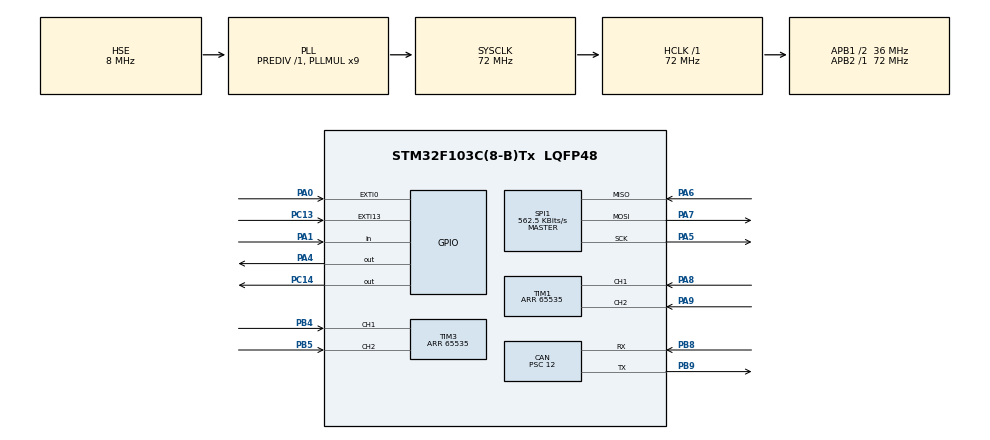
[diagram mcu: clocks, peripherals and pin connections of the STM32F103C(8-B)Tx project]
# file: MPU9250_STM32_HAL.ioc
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CAN.BS1=CAN_BS1_3TQ
CAN.BS2=CAN_BS2_2TQ
CAN.CalculateTimeBit=2000
CAN.CalculateTimeQuantum=333.33333333333337
CAN.Prescaler=12
CAN.SJW=CAN_SJW_2TQ
Mcu.Family=STM32F1
Mcu.Name=STM32F103C(8-B)Tx
Mcu.Package=LQFP48
NVIC.EXTI0_IRQn=true\:0\:0\:false\:true\:true\:2\:true
NVIC.EXTI15_10_IRQn=true\:0\:0\:false\:true\:true\:1\:true
NVIC.PriorityGroup=NVIC_PRIORITYGROUP_4
NVIC.TIM1_UP_IRQn=true\:0\:0\:false\:false\:true\:true
NVIC.TIM3_IRQn=true\:0\:0\:false\:false\:true\:true
PA0-WKUP.Signal=GPXTI0
PA1.Signal=GPIO_Input
PA13.Mode=Serial_Wire
PA13.Signal=SYS_JTMS-SWDIO
PA14.Mode=Serial_Wire
PA14.Signal=SYS_JTCK-SWCLK
PA4.Signal=GPIO_Output
PA5.Mode=Full_Duplex_Master
PA5.Signal=SPI1_SCK
PA6.Mode=Full_Duplex_Master
PA6.Signal=SPI1_MISO
PA7.Mode=Full_Duplex_Master
PA7.Signal=SPI1_MOSI
PA8.GPIO_PuPd=GPIO_PULLUP
PA8.Signal=S_TIM1_CH1
PA9.GPIO_PuPd=GPIO_PULLUP
PA9.Signal=S_TIM1_CH2
PB4.GPIO_PuPd=GPIO_PULLUP
PB4.Signal=S_TIM3_CH1
PB5.GPIO_PuPd=GPIO_PULLUP
PB5.Signal=S_TIM3_CH2
PB8.Mode=Master
PB8.Signal=CAN_RX
PB9.Mode=Master
PB9.Signal=CAN_TX
PC13-TAMPER-RTC.GPIO_PuPd=GPIO_PULLDOWN
PC13-TAMPER-RTC.Signal=GPXTI13
PC14-OSC32_IN.Signal=GPIO_Output
PD0-OSC_IN.Mode=HSE-External-Oscillator
PD0-OSC_IN.Signal=RCC_OSC_IN
PD1-OSC_OUT.Mode=HSE-External-Oscillator
PD1-OSC_OUT.Signal=RCC_OSC_OUT
ProjectManager.HeapSize=0x200
ProjectManager.StackSize=0x400
ProjectManager.TargetToolchain=MDK-ARM V5
RCC.AHBFreq_Value=72000000
RCC.APB1CLKDivider=RCC_HCLK_DIV2
RCC.APB1Freq_Value=36000000
RCC.APB1TimFreq_Value=72000000
RCC.APB2Freq_Value=72000000
RCC.APB2TimFreq_Value=72000000
RCC.HCLKFreq_Value=72000000
RCC.PLLMUL=RCC_PLL_MUL9
RCC.PLLSourceVirtual=RCC_PLLSOURCE_HSE
RCC.SYSCLKFreq_VALUE=72000000
RCC.SYSCLKSource=RCC_SYSCLKSOURCE_PLLCLK
RCC.USBFreq_Value=48000000
RCC.USBPrescaler=RCC_USBCLKSOURCE_PLL_DIV1_5
SH.S_TIM1_CH1.0=TIM1_CH1,Encoder_Interface
SH.S_TIM1_CH2.0=TIM1_CH2,Encoder_Interface
SH.S_TIM3_CH1.0=TIM3_CH1,Encoder_Interface
SH.S_TIM3_CH2.0=TIM3_CH2,Encoder_Interface
SPI1.BaudRatePrescaler=SPI_BAUDRATEPRESCALER_128
SPI1.CalculateBaudRate=562.5 KBits/s
SPI1.Direction=SPI_DIRECTION_2LINES
SPI1.Mode=SPI_MODE_MASTER
SPI1.VirtualType=VM_MASTER
TIM1.EncoderMode=TIM_ENCODERMODE_TI12
TIM1.Period=65535
TIM3.EncoderMode=TIM_ENCODERMODE_TI12
TIM3.Period=65535
board=MPU9250_STM32_HAL

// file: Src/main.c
/**
  ******************************************************************************
  * @file           : main.c
  * @brief          : Main program body
  ******************************************************************************
  ** This notice applies to any and all portions of this file
  * that are not between comment pairs USER CODE BEGIN and
  * USER CODE END. Other portions of this file, whether
  * inserted by the user or by software development tools
  * are owned by their respective copyright owners.
  *
  * COPYRIGHT(c) 2018 STMicroelectronics
  *
  * Redistribution and use in source and binary forms, with or without modification,
  * are permitted provided that the following conditions are met:
  *   1. Redistributions of source code must retain the above copyright notice,
  *      this list of conditions and the following disclaimer.
  *   2. Redistributions in binary form must reproduce the above copyright notice,
  *      this list of conditions and the following disclaimer in the documentation
  *      and/or other materials provided with the distribution.
  *   3. Neither the name of STMicroelectronics nor the names of its contributors
  *      may be used to endorse or promote products derived from this software
  *      without specific prior written permission.
  *
  * THIS SOFTWARE IS PROVIDED BY THE COPYRIGHT HOLDERS AND CONTRIBUTORS "AS IS"
  * AND ANY EXPRESS OR IMPLIED WARRANTIES, INCLUDING, BUT NOT LIMITED TO, THE
  * IMPLIED WARRANTIES OF MERCHANTABILITY AND FITNESS FOR A PARTICULAR PURPOSE ARE
  * DISCLAIMED. IN NO EVENT SHALL THE COPYRIGHT HOLDER OR CONTRIBUTORS BE LIABLE
  * FOR ANY DIRECT, INDIRECT, INCIDENTAL, SPECIAL, EXEMPLARY, OR CONSEQUENTIAL
  * DAMAGES (INCLUDING, BUT NOT LIMITED TO, PROCUREMENT OF SUBSTITUTE GOODS OR
  * SERVICES; LOSS OF USE, DATA, OR PROFITS; OR BUSINESS INTERRUPTION) HOWEVER
  * CAUSED AND ON ANY THEORY OF LIABILITY, WHETHER IN CONTRACT, STRICT LIABILITY,
  * OR TORT (INCLUDING NEGLIGENCE OR OTHERWISE) ARISING IN ANY WAY OUT OF THE USE
  * OF THIS SOFTWARE, EVEN IF ADVISED OF THE POSSIBILITY OF SUCH DAMAGE.
  *
  ******************************************************************************
  */
#include "main.h"
#include "stm32f1xx_hal.h"

/* USER CODE BEGIN Includes */
#include "MPU9250_SPI.h"
#include "stdlib.h"
#include "string.h"

/* USER CODE END Includes */

CAN_HandleTypeDef hcan;

SPI_HandleTypeDef hspi1;

TIM_HandleTypeDef htim1;
TIM_HandleTypeDef htim3;

/* USER CODE BEGIN PV */
/* Private variables ---------------------------------------------------------*/
volatile uint16_t newDataFlag=0;
volatile uint16_t cdcPortOpenedFlag=0;
volatile uint16_t transmitFlag=0;
extern volatile int32_t enc1,enc2;
/* USER CODE END PV */

void SystemClock_Config(void);
static void MX_GPIO_Init(void);
static void MX_SPI1_Init(void);
static void MX_CAN_Init(void);
static void MX_TIM1_Init(void);
static void MX_TIM3_Init(void);
static void MX_NVIC_Init(void);

/* USER CODE BEGIN PFP */
/* Private function prototypes -----------------------------------------------*/

/* USER CODE END PFP */

int main(void)
{
  /* USER CODE BEGIN 1 */
	char outdata[100];
	uint16_t ENC1 = 0;
	uint16_t ENC2 = 0;
	int transmitGo=0;
	uint8_t canBuff[]="abcdefgh";
	struct mpuSensorData sensorData;
	struct DPL{
		int16_t h1;
		int16_t h2;
		struct mpuSensorData Data;
	};
	union{
		struct DPL Data;
		uint8_t buffer[24];
	  }Packet;
	union{
		struct{
			int16_t a;
			int16_t b;
			int16_t c;

		}Data;
		uint8_t buffer[6];
	}canMess;

	  CanTxMsgTypeDef TXmsg;
		CanRxMsgTypeDef RXmsg;
		hcan.pTxMsg=&TXmsg;
			TXmsg.IDE=CAN_ID_STD;
			TXmsg.RTR=CAN_RTR_DATA;
			TXmsg.StdId=2000;
			TXmsg.DLC=7;
  /* USER CODE END 1 */

  /* MCU Configuration----------------------------------------------------------*/

  /* Reset of all peripherals, Initializes the Flash interface and the Systick. */
  HAL_Init();

  /* Configure the system clock */
  SystemClock_Config();

  /* Initialize all configured peripherals */
  MX_GPIO_Init();
  MX_SPI1_Init();
  MX_CAN_Init();
  MX_TIM1_Init();
  MX_TIM3_Init();

  /* Initialize interrupts */
  MX_NVIC_Init();
  /* USER CODE BEGIN 2 */
	NSS_HIGH;
	uint8_t data=00;
	HAL_SPI_Transmit(&hspi1,&data,1,100); //init the spi interface pin states
	HAL_Delay(10);
	mpuBegin();
	HAL_TIM_Base_Start_IT(&htim1);
	HAL_TIM_Base_Start_IT(&htim3);
	//mpuMyCustomConfig();
  enableDataReadyInterrupt();
  /* USER CODE END 2 */

  /* Infinite loop */
  while (1)
  {

  /* USER CODE BEGIN 3 */
			if(newDataFlag){
				mpuReadSensor(&sensorData);
				if(transmitGo>1)								//100 Hz Data Transmit Rate
		  //if(transmitFlag==1)						//get in sync with the camera
				{
				/*
				transmitFlag=0;

				//for(int i=0;i<100000;i++);
				*/
				canMess.Data.a=sensorData.gx;
				canMess.Data.b=sensorData.gy;
				canMess.Data.c=sensorData.gz;
				memcpy(&TXmsg.Data[0],canMess.buffer,6);
				TXmsg.Data[6]=1;
				HAL_CAN_Transmit(&hcan,100);
				//for(int i=0;i<100000;i++);
				canMess.Data.a=sensorData.ax;
				canMess.Data.b=sensorData.ay;
				canMess.Data.c=sensorData.az;
				memcpy(&TXmsg.Data[0],canMess.buffer,6);
				TXmsg.Data[6]=2;
				HAL_CAN_Transmit(&hcan,100);
				//for(int i=0;i<100000;i++);
				ENC1 = enc1;
				ENC2 = enc2;
				canMess.Data.a=ENC1;
				canMess.Data.b=ENC2;
				memcpy(&TXmsg.Data[0],canMess.buffer,4);
				TXmsg.Data[6]=3;
				HAL_CAN_Transmit(&hcan,100);
				//for(int i=0;i<100000;i++);
				/*
				//for(int i=0;i<100000;i++);
				canMess.Data.a=sensorData.hx;
				canMess.Data.b=sensorData.hy;
				canMess.Data.c=sensorData.hz;
				memcpy(&TXmsg.Data[0],canMess.buffer,6);
				TXmsg.Data[6]=3;
				HAL_CAN_Transmit(&hcan,100);
				*/
				//for(int i=0;i<100000;i++);
				transmitGo=0;
			}else{
				transmitGo++;
			}
			newDataFlag=0;
			}

  }
  /* USER CODE END 3 */

}

void SystemClock_Config(void)
{

  RCC_OscInitTypeDef RCC_OscInitStruct;
  RCC_ClkInitTypeDef RCC_ClkInitStruct;

    /**Initializes the CPU, AHB and APB busses clocks
    */
  RCC_OscInitStruct.OscillatorType = RCC_OSCILLATORTYPE_HSE;
  RCC_OscInitStruct.HSEState = RCC_HSE_ON;
  RCC_OscInitStruct.HSEPredivValue = RCC_HSE_PREDIV_DIV1;
  RCC_OscInitStruct.HSIState = RCC_HSI_ON;
  RCC_OscInitStruct.PLL.PLLState = RCC_PLL_ON;
  RCC_OscInitStruct.PLL.PLLSource = RCC_PLLSOURCE_HSE;
  RCC_OscInitStruct.PLL.PLLMUL = RCC_PLL_MUL9;
  if (HAL_RCC_OscConfig(&RCC_OscInitStruct) != HAL_OK)
  {
    _Error_Handler(__FILE__, __LINE__);
  }

    /**Initializes the CPU, AHB and APB busses clocks
    */
  RCC_ClkInitStruct.ClockType = RCC_CLOCKTYPE_HCLK|RCC_CLOCKTYPE_SYSCLK
                              |RCC_CLOCKTYPE_PCLK1|RCC_CLOCKTYPE_PCLK2;
  RCC_ClkInitStruct.SYSCLKSource = RCC_SYSCLKSOURCE_PLLCLK;
  RCC_ClkInitStruct.AHBCLKDivider = RCC_SYSCLK_DIV1;
  RCC_ClkInitStruct.APB1CLKDivider = RCC_HCLK_DIV2;
  RCC_ClkInitStruct.APB2CLKDivider = RCC_HCLK_DIV1;

  if (HAL_RCC_ClockConfig(&RCC_ClkInitStruct, FLASH_LATENCY_2) != HAL_OK)
  {
    _Error_Handler(__FILE__, __LINE__);
  }

    /**Configure the Systick interrupt time
    */
  HAL_SYSTICK_Config(HAL_RCC_GetHCLKFreq()/1000);

    /**Configure the Systick
    */
  HAL_SYSTICK_CLKSourceConfig(SYSTICK_CLKSOURCE_HCLK);

  /* SysTick_IRQn interrupt configuration */
  HAL_NVIC_SetPriority(SysTick_IRQn, 0, 0);
}

/**
  * @brief NVIC Configuration.
  * @retval None
  */
static void MX_NVIC_Init(void)
{
  /* EXTI15_10_IRQn interrupt configuration */
  HAL_NVIC_SetPriority(EXTI15_10_IRQn, 0, 0);
  HAL_NVIC_EnableIRQ(EXTI15_10_IRQn);
  /* EXTI0_IRQn interrupt configuration */
  HAL_NVIC_SetPriority(EXTI0_IRQn, 0, 0);
  HAL_NVIC_EnableIRQ(EXTI0_IRQn);
}

/* CAN init function */
static void MX_CAN_Init(void)
{

  hcan.Instance = CAN1;
  hcan.Init.Prescaler = 12;
  hcan.Init.Mode = CAN_MODE_NORMAL;
  hcan.Init.SJW = CAN_SJW_2TQ;
  hcan.Init.BS1 = CAN_BS1_3TQ;
  hcan.Init.BS2 = CAN_BS2_2TQ;
  hcan.Init.TTCM = DISABLE;
  hcan.Init.ABOM = DISABLE;
  hcan.Init.AWUM = DISABLE;
  hcan.Init.NART = DISABLE;
  hcan.Init.RFLM = DISABLE;
  hcan.Init.TXFP = DISABLE;
  if (HAL_CAN_Init(&hcan) != HAL_OK)
  {
    _Error_Handler(__FILE__, __LINE__);
  }

}

/* SPI1 init function */
static void MX_SPI1_Init(void)
{

  /* SPI1 parameter configuration*/
  hspi1.Instance = SPI1;
  hspi1.Init.Mode = SPI_MODE_MASTER;
  hspi1.Init.Direction = SPI_DIRECTION_2LINES;
  hspi1.Init.DataSize = SPI_DATASIZE_8BIT;
  hspi1.Init.CLKPolarity = SPI_POLARITY_LOW;
  hspi1.Init.CLKPhase = SPI_PHASE_1EDGE;
  hspi1.Init.NSS = SPI_NSS_SOFT;
  hspi1.Init.BaudRatePrescaler = SPI_BAUDRATEPRESCALER_128;
  hspi1.Init.FirstBit = SPI_FIRSTBIT_MSB;
  hspi1.Init.TIMode = SPI_TIMODE_DISABLE;
  hspi1.Init.CRCCalculation = SPI_CRCCALCULATION_DISABLE;
  hspi1.Init.CRCPolynomial = 10;
  if (HAL_SPI_Init(&hspi1) != HAL_OK)
  {
    _Error_Handler(__FILE__, __LINE__);
  }

}

/* TIM1 init function */
static void MX_TIM1_Init(void)
{

  TIM_Encoder_InitTypeDef sConfig;
  TIM_MasterConfigTypeDef sMasterConfig;

  htim1.Instance = TIM1;
  htim1.Init.Prescaler = 0;
  htim1.Init.CounterMode = TIM_COUNTERMODE_UP;
  htim1.Init.Period = 65535;
  htim1.Init.ClockDivision = TIM_CLOCKDIVISION_DIV1;
  htim1.Init.RepetitionCounter = 0;
  htim1.Init.AutoReloadPreload = TIM_AUTORELOAD_PRELOAD_DISABLE;
  sConfig.EncoderMode = TIM_ENCODERMODE_TI12;
  sConfig.IC1Polarity = TIM_ICPOLARITY_RISING;
  sConfig.IC1Selection = TIM_ICSELECTION_DIRECTTI;
  sConfig.IC1Prescaler = TIM_ICPSC_DIV1;
  sConfig.IC1Filter = 0;
  sConfig.IC2Polarity = TIM_ICPOLARITY_RISING;
  sConfig.IC2Selection = TIM_ICSELECTION_DIRECTTI;
  sConfig.IC2Prescaler = TIM_ICPSC_DIV1;
  sConfig.IC2Filter = 0;
  if (HAL_TIM_Encoder_Init(&htim1, &sConfig) != HAL_OK)
  {
    _Error_Handler(__FILE__, __LINE__);
  }

  sMasterConfig.MasterOutputTrigger = TIM_TRGO_RESET;
  sMasterConfig.MasterSlaveMode = TIM_MASTERSLAVEMODE_DISABLE;
  if (HAL_TIMEx_MasterConfigSynchronization(&htim1, &sMasterConfig) != HAL_OK)
  {
    _Error_Handler(__FILE__, __LINE__);
  }

}

/* TIM3 init function */
static void MX_TIM3_Init(void)
{

  TIM_Encoder_InitTypeDef sConfig;
  TIM_MasterConfigTypeDef sMasterConfig;

  htim3.Instance = TIM3;
  htim3.Init.Prescaler = 0;
  htim3.Init.CounterMode = TIM_COUNTERMODE_UP;
  htim3.Init.Period = 65535;
  htim3.Init.ClockDivision = TIM_CLOCKDIVISION_DIV1;
  htim3.Init.AutoReloadPreload = TIM_AUTORELOAD_PRELOAD_DISABLE;
  sConfig.EncoderMode = TIM_ENCODERMODE_TI12;
  sConfig.IC1Polarity = TIM_ICPOLARITY_RISING;
  sConfig.IC1Selection = TIM_ICSELECTION_DIRECTTI;
  sConfig.IC1Prescaler = TIM_ICPSC_DIV1;
  sConfig.IC1Filter = 0;
  sConfig.IC2Polarity = TIM_ICPOLARITY_RISING;
  sConfig.IC2Selection = TIM_ICSELECTION_DIRECTTI;
  sConfig.IC2Prescaler = TIM_ICPSC_DIV1;
  sConfig.IC2Filter = 0;
  if (HAL_TIM_Encoder_Init(&htim3, &sConfig) != HAL_OK)
  {
    _Error_Handler(__FILE__, __LINE__);
  }

  sMasterConfig.MasterOutputTrigger = TIM_TRGO_RESET;
  sMasterConfig.MasterSlaveMode = TIM_MASTERSLAVEMODE_DISABLE;
  if (HAL_TIMEx_MasterConfigSynchronization(&htim3, &sMasterConfig) != HAL_OK)
  {
    _Error_Handler(__FILE__, __LINE__);
  }

}

/** Configure pins as
        * Analog
        * Input
        * Output
        * EVENT_OUT
        * EXTI
*/
static void MX_GPIO_Init(void)
{

  GPIO_InitTypeDef GPIO_InitStruct;

  /* GPIO Ports Clock Enable */
  __HAL_RCC_GPIOC_CLK_ENABLE();
  __HAL_RCC_GPIOD_CLK_ENABLE();
  __HAL_RCC_GPIOA_CLK_ENABLE();
  __HAL_RCC_GPIOB_CLK_ENABLE();

  /*Configure GPIO pin Output Level */
  HAL_GPIO_WritePin(GPIOC, GPIO_PIN_14, GPIO_PIN_RESET);

  /*Configure GPIO pin Output Level */
  HAL_GPIO_WritePin(GPIOA, GPIO_PIN_4, GPIO_PIN_RESET);

  /*Configure GPIO pin : PC13 */
  GPIO_InitStruct.Pin = GPIO_PIN_13;
  GPIO_InitStruct.Mode = GPIO_MODE_IT_RISING;
  GPIO_InitStruct.Pull = GPIO_PULLDOWN;
  HAL_GPIO_Init(GPIOC, &GPIO_InitStruct);

  /*Configure GPIO pin : PC14 */
  GPIO_InitStruct.Pin = GPIO_PIN_14;
  GPIO_InitStruct.Mode = GPIO_MODE_OUTPUT_PP;
  GPIO_InitStruct.Speed = GPIO_SPEED_FREQ_LOW;
  HAL_GPIO_Init(GPIOC, &GPIO_InitStruct);

  /*Configure GPIO pin : PA0 */
  GPIO_InitStruct.Pin = GPIO_PIN_0;
  GPIO_InitStruct.Mode = GPIO_MODE_IT_RISING;
  GPIO_InitStruct.Pull = GPIO_NOPULL;
  HAL_GPIO_Init(GPIOA, &GPIO_InitStruct);

  /*Configure GPIO pin : PA1 */
  GPIO_InitStruct.Pin = GPIO_PIN_1;
  GPIO_InitStruct.Mode = GPIO_MODE_INPUT;
  GPIO_InitStruct.Pull = GPIO_NOPULL;
  HAL_GPIO_Init(GPIOA, &GPIO_InitStruct);

  /*Configure GPIO pin : PA4 */
  GPIO_InitStruct.Pin = GPIO_PIN_4;
  GPIO_InitStruct.Mode = GPIO_MODE_OUTPUT_PP;
  GPIO_InitStruct.Speed = GPIO_SPEED_FREQ_LOW;
  HAL_GPIO_Init(GPIOA, &GPIO_InitStruct);

}

void _Error_Handler(char *file, int line)
{
  while(1)
  {
  }
}

/************************ (C) COPYRIGHT STMicroelectronics *****END OF FILE****/
